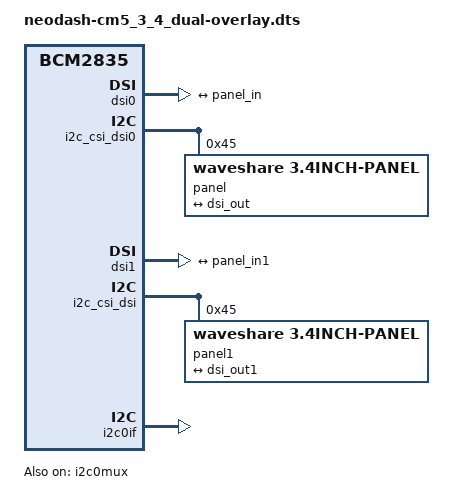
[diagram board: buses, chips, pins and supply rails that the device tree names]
/*
 * Device Tree overlay for Neodash CM5, dual 3.4
 *
 */

/dts-v1/;
/plugin/;

/ {
	compatible = "brcm,bcm2835";

	dsi_frag: fragment@0 {
		target = <&dsi0>;
		__overlay__ {
			#address-cells = <1>;
			#size-cells = <0>;
			status = "okay";
			port {
				dsi_out: endpoint {
					remote-endpoint = <&panel_in>;
				};
			};
		};
	};

	fragment@1 {
		target-path = "/";
		__overlay__ {
		};
	};

	i2c_frag: fragment@2 {
		target = <&i2c_csi_dsi0>;
		__overlay__ {
			#address-cells = <1>;
			#size-cells = <0>;
			status = "okay";

			panel: panel_disp0@45 {
				reg = <0x45>;
				compatible = "waveshare,3.4inch-panel";
				port {
					panel_in: endpoint {
						remote-endpoint = <&dsi_out>;
					};
				};
			};
		};
	};

	dsi_frag1: fragment@3 {
                target = <&dsi1>;
                __overlay__ {
                        #address-cells = <1>;
                        #size-cells = <0>;
                        status = "okay";
                        port {
                                dsi_out1: endpoint {
                                        remote-endpoint = <&panel_in1>;
                                };
                        };
                };
        };

	i2c_frag1: fragment@4 {
                target = <&i2c_csi_dsi>;
                __overlay__ {
                        #address-cells = <1>;
                        #size-cells = <0>;
                        status = "okay";

                        panel1: panel_disp1@45 {
                                reg = <0x45>;
                                compatible = "waveshare,3.4inch-panel";
				linux,fbdev-only;
                                port {
                                        panel_in1: endpoint {
                                                remote-endpoint = <&dsi_out1>;
                                        };
                                };
                        };
                };
        };

	fragment@5 {
		target = <&i2c0if>;
		__overlay__ {
			status = "okay";
		};
	};

	fragment@6 {
		target = <&i2c0mux>;
		__overlay__ {
			status = "okay";
		};
	};

	fragment@7 {
		target = <&i2c_arm>;
		__dormant__ {
			status = "okay";
		};
	};
};
